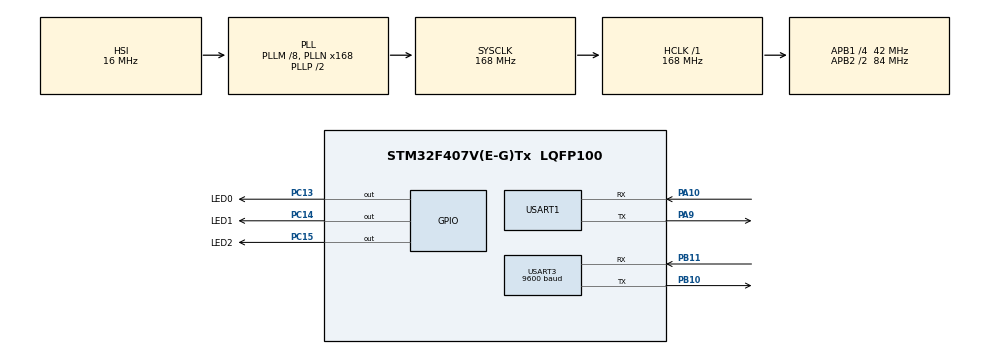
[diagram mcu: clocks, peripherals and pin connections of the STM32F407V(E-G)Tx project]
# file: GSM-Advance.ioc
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Dma.Request0=USART1_TX
Dma.Request1=USART3_RX
Dma.Request2=USART3_TX
Dma.USART1_TX.0.Direction=DMA_MEMORY_TO_PERIPH
Dma.USART1_TX.0.FIFOMode=DMA_FIFOMODE_DISABLE
Dma.USART1_TX.0.Instance=DMA2_Stream7
Dma.USART1_TX.0.MemDataAlignment=DMA_MDATAALIGN_BYTE
Dma.USART1_TX.0.MemInc=DMA_MINC_ENABLE
Dma.USART1_TX.0.Mode=DMA_NORMAL
Dma.USART1_TX.0.PeriphDataAlignment=DMA_PDATAALIGN_BYTE
Dma.USART1_TX.0.PeriphInc=DMA_PINC_DISABLE
Dma.USART1_TX.0.Priority=DMA_PRIORITY_LOW
Dma.USART3_RX.1.Direction=DMA_PERIPH_TO_MEMORY
Dma.USART3_RX.1.FIFOMode=DMA_FIFOMODE_DISABLE
Dma.USART3_RX.1.Instance=DMA1_Stream1
Dma.USART3_RX.1.MemDataAlignment=DMA_MDATAALIGN_BYTE
Dma.USART3_RX.1.MemInc=DMA_MINC_ENABLE
Dma.USART3_RX.1.Mode=DMA_NORMAL
Dma.USART3_RX.1.PeriphDataAlignment=DMA_PDATAALIGN_BYTE
Dma.USART3_RX.1.PeriphInc=DMA_PINC_DISABLE
Dma.USART3_RX.1.Priority=DMA_PRIORITY_LOW
Dma.USART3_TX.2.Direction=DMA_MEMORY_TO_PERIPH
Dma.USART3_TX.2.FIFOMode=DMA_FIFOMODE_DISABLE
Dma.USART3_TX.2.Instance=DMA1_Stream3
Dma.USART3_TX.2.MemDataAlignment=DMA_MDATAALIGN_BYTE
Dma.USART3_TX.2.MemInc=DMA_MINC_ENABLE
Dma.USART3_TX.2.Mode=DMA_NORMAL
Dma.USART3_TX.2.PeriphDataAlignment=DMA_PDATAALIGN_BYTE
Dma.USART3_TX.2.PeriphInc=DMA_PINC_DISABLE
Dma.USART3_TX.2.Priority=DMA_PRIORITY_LOW
Mcu.Family=STM32F4
Mcu.Name=STM32F407V(E-G)Tx
Mcu.Package=LQFP100
NVIC.DMA1_Stream1_IRQn=true\:0\:0\:false\:false\:true\:false\:true
NVIC.DMA1_Stream3_IRQn=true\:0\:0\:false\:false\:true\:false\:true
NVIC.DMA2_Stream7_IRQn=true\:0\:0\:false\:false\:true\:false\:true
NVIC.PriorityGroup=NVIC_PRIORITYGROUP_4
NVIC.USART1_IRQn=true\:0\:0\:false\:false\:true\:true\:true
NVIC.USART3_IRQn=true\:0\:0\:false\:false\:true\:true\:true
PA10.Mode=Asynchronous
PA10.Signal=USART1_RX
PA9.Mode=Asynchronous
PA9.Signal=USART1_TX
PB10.Mode=Asynchronous
PB10.Signal=USART3_TX
PB11.Mode=Asynchronous
PB11.Signal=USART3_RX
PC13-ANTI_TAMP.GPIO_Label=LED0
PC13-ANTI_TAMP.Signal=GPIO_Output
PC14-OSC32_IN.GPIO_Label=LED1
PC14-OSC32_IN.Signal=GPIO_Output
PC15-OSC32_OUT.GPIO_Label=LED2
PC15-OSC32_OUT.Signal=GPIO_Output
ProjectManager.HeapSize=0x200
ProjectManager.StackSize=0x400
ProjectManager.TargetToolchain=MDK-ARM V5.27
RCC.48MHZClocksFreq_Value=84000000
RCC.AHBFreq_Value=168000000
RCC.APB1CLKDivider=RCC_HCLK_DIV4
RCC.APB1Freq_Value=42000000
RCC.APB1TimFreq_Value=84000000
RCC.APB2CLKDivider=RCC_HCLK_DIV2
RCC.APB2Freq_Value=84000000
RCC.APB2TimFreq_Value=168000000
RCC.CortexFreq_Value=168000000
RCC.HCLKFreq_Value=168000000
RCC.HSE_VALUE=25000000
RCC.HSI_VALUE=16000000
RCC.LSE_VALUE=32768
RCC.PLLM=8
RCC.PLLN=168
RCC.SYSCLKFreq_VALUE=168000000
RCC.SYSCLKSource=RCC_SYSCLKSOURCE_PLLCLK
RCC.VCOOutputFreq_Value=336000000
USART1.VirtualMode=VM_ASYNC
USART3.BaudRate=9600
USART3.VirtualMode=VM_ASYNC
board=custom

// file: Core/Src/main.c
/* USER CODE BEGIN Header */
/**
  ******************************************************************************
  * @file           : main.c
  * @brief          : Main program body
  ******************************************************************************
  * @attention
  *
  * <h2><center>&copy; Copyright (c) 2024 STMicroelectronics.
  * All rights reserved.</center></h2>
  *
  * This software component is licensed by ST under BSD 3-Clause license,
  * the "License"; You may not use this file except in compliance with the
  * License. You may obtain a copy of the License at:
  *                        opensource.org/licenses/BSD-3-Clause
  *
  ******************************************************************************
  */
/* USER CODE END Header */
#include "main.h"
#include "dma.h"
#include "usart.h"
#include "gpio.h"

/* USER CODE BEGIN Includes */
#include "CircularBuffer.h"
#include <stdio.h>
#include <string.h>
#include <stdarg.h>
/* USER CODE END Includes */

/* USER CODE BEGIN PTD */
/* Pre-Defined Types */
struct __GSM;
typedef struct __GSM GSM;
struct __GSM_URC;
typedef struct __GSM_URC GSM_URC;
struct __GSM_Command;
typedef struct __GSM_Command GSM_Command;

typedef struct {
  const char*               Text;
  int16_t                   Len;
} StrConst;

typedef enum {
  GSM_Result_Unknown    = -1,
  GSM_Result_Ok         = 0,
  GSM_Result_Error,
  GSM_Result_CMEError,
  GSM_Result_CMSError,
} GSM_Result;

typedef enum {
  GSM_State_Config,
  GSM_State_Idle,
} GSM_State;

typedef enum {
  GSM_ConfigState_AT,
  GSM_ConfigState_ATE0,
  GSM_ConfigState_CMGF,
  GSM_ConfigState_CSMP,
  GSM_ConfigState_CNMI,
} GSM_ConfigState;

typedef void    (*GSM_URC_ProcessFn)(GSM* gsm, const GSM_URC* urc, char* line);
typedef void    (*GSM_URC_ProcessDataFn)(GSM* gsm, const GSM_URC* urc, char* line);
typedef void    (*GSM_Command_OnResultFn)(GSM* gsm, const GSM_Command* cmd, char* line, GSM_Result result);
typedef uint8_t (*GSM_Command_OnURCFn)(GSM* gsm, const GSM_Command* cmd, char* line);

struct __GSM_URC {
  StrConst                  Name;
  GSM_URC_ProcessFn         process;
  GSM_URC_ProcessDataFn     processData;
};

struct __GSM_Command {
  const char*               Cmd;
  const char*               Data;
  const char*               End;
  GSM_Command_OnResultFn    onResult;
  GSM_Command_OnURCFn       onURC;
};

struct __GSM {
  UART_CircularBuffer*      Rx;
  UART_CircularBuffer*      Tx;
  GSM_State                 State;
  GSM_ConfigState           ConfigState;
  const GSM_Command*        Cmd;
  const GSM_Command*        NextCmd;
  const GSM_URC*            URCs;
  const GSM_URC*            URCInProcess;
  int16_t                   URCsLen;
  uint8_t                   WaitForSend     : 1;
  uint8_t                   WaitForData     : 1;
  uint8_t                   WaitForResult   : 1;
  uint8_t                   InSendCommand   : 1;
  uint8_t                   Reserved        : 4;
};

typedef struct {
  GPIO_TypeDef*             GPIO;
  uint16_t                  Pin;
} Led_PinConfig;

/* USER CODE END PTD */

/* USER CODE BEGIN PD */
#define LED_CONFIGS_LEN       3
/* USER CODE END PD */

/* USER CODE BEGIN PM */
#define ARR_LEN(ARR)          (sizeof(ARR) / sizeof(ARR[0]))
/* USER CODE END PM */

/* USER CODE BEGIN PV */
static const Led_PinConfig LED_CONFIGS[LED_CONFIGS_LEN] = {
  { LED0_GPIO_Port, LED0_Pin },
  { LED1_GPIO_Port, LED1_Pin },
  { LED2_GPIO_Port, LED2_Pin },
};

static const char CRLF[2]        = "\r\n";
static const char AT[]           = "AT";
static const char AT_CME_ERROR[] = "+CME ERROR:";
static const char AT_CMS_ERROR[] = "+CMS ERROR:";
static const char AT_OK[]        = "OK";
static const char AT_ERROR[]     = "ERROR";
static const char AT_CMT[]       = "+CMT:";

#define STR_CONST(STR)          { STR, sizeof(STR) -1 }

static const StrConst AT_RESULT[] = {
  STR_CONST(AT_OK),
  STR_CONST(AT_ERROR),
  STR_CONST(AT_CME_ERROR),
  STR_CONST(AT_CMS_ERROR),
};
static const int16_t AT_RESULT_LEN = ARR_LEN(AT_RESULT);

static UART_CircularBuffer uart1Tx = {0};
static uint8_t uart1TxBuf[512];

static UART_CircularBuffer uart3Tx = {0};
static uint8_t uart3TxBuf[512];
static UART_CircularBuffer uart3Rx = {0};
static uint8_t uart3RxBuf[512];

static GSM gsm = {0};

static char phone[17] = {0};
static char message[150] = {0};
/* USER CODE END PV */

void SystemClock_Config(void);
/* USER CODE BEGIN PFP */
void GSM_init(GSM* gsm, UART_CircularBuffer* tx, UART_CircularBuffer* rx);
void GSM_process(GSM* gsm);

void GSM_setURCs(GSM* gsm, const GSM_URC* urcs, int16_t len);
void GSM_sendCmd(GSM* gsm, const GSM_Command* cmd);
void GSM_setWaitForData(GSM* gsm, const GSM_URC* urc);
void GSM_endWaitForData(GSM* gsm);

void smsProcess(void);

void GSM_sendStr(GSM* gsm, const char* str);
void GSM_sendFmt(GSM* gsm, const char* fmt, ...);

int16_t GSM_URC_find(char* str, const GSM_URC* urcs, int16_t len);

char* Str_ignoreWhitespace(char* str);
char* Str_indexOfAt(char* str, char c, int16_t num);
char* Str_getToken(char* str, char* out, char c, int16_t num);
uint32_t Str_getUNum(char* str, int16_t* len);

int16_t Str_linearSearch(char* str, const StrConst* strs, int16_t len);

void GSM_Config_AT_onResult(GSM* gsm, const GSM_Command* cmd, char* line, GSM_Result result);
void GSM_Config_ATE0_onResult(GSM* gsm, const GSM_Command* cmd, char* line, GSM_Result result);
void GSM_Config_CMGF_onResult(GSM* gsm, const GSM_Command* cmd, char* line, GSM_Result result);
void GSM_Config_CSMP_onResult(GSM* gsm, const GSM_Command* cmd, char* line, GSM_Result result);
void GSM_Config_CNMI_onResult(GSM* gsm, const GSM_Command* cmd, char* line, GSM_Result result);

void GSM_URC_CMT_process(GSM* gsm, const GSM_URC* urc, char* line);
void GSM_URC_CMT_processData(GSM* gsm, const GSM_URC* urc, char* line);

void GSM_URC_RING_process(GSM* gsm, const GSM_URC* urc, char* line);
/* USER CODE END PFP */

/* USER CODE BEGIN 0 */
static const GSM_Command CONFIG_CMD_AT = {
  .Cmd = "AT\r\n",
  .onResult = GSM_Config_AT_onResult,
};

static const GSM_Command CONFIG_CMD_ATE0 = {
  .Cmd = "ATE0\r\n",
  .onResult = GSM_Config_ATE0_onResult,
};

static const GSM_Command CONFIG_CMD_CMGF = {
  .Cmd = "AT+CMGF=1\r\n",
  .onResult = GSM_Config_CMGF_onResult,
};

static const GSM_Command CONFIG_CMD_CSMP = {
  .Cmd = "AT+CSMP=17,167,0,0\r\n",
  .onResult = GSM_Config_CSMP_onResult,
};

static const GSM_Command CONFIG_CMD_CNMI = {
  .Cmd = "AT+CNMI=2,2\r\n",
  .onResult = GSM_Config_CNMI_onResult,
};

static const GSM_URC GSM_URCS[] = {
  {
    .Name = STR_CONST("+CMT:"),
    .process = GSM_URC_CMT_process,
    .processData = GSM_URC_CMT_processData,
  },
  {
    .Name = STR_CONST("RING"),
    .process = GSM_URC_RING_process,
  },
};
static const int16_t GSM_URCS_LEN = ARR_LEN(GSM_URCS);

/* USER CODE END 0 */

int main(void)
{

  /* MCU Configuration--------------------------------------------------------*/

  /* Reset of all peripherals, Initializes the Flash interface and the Systick. */
  HAL_Init();

  /* Configure the system clock */
  SystemClock_Config();

  /* Initialize all configured peripherals */
  MX_GPIO_Init();
  MX_DMA_Init();
  MX_USART1_UART_Init();
  MX_USART3_UART_Init();
  /* USER CODE BEGIN 2 */
  UART_CircularBuffer_init(&uart1Tx, &huart1, uart1TxBuf, sizeof(uart1TxBuf));
  UART_CircularBuffer_init(&uart3Tx, &huart3, uart3TxBuf, sizeof(uart3TxBuf));
  UART_CircularBuffer_init(&uart3Rx, &huart3, uart3RxBuf, sizeof(uart3RxBuf));
  UART_CircularBuffer_receive(&uart3Rx);
  /* USER CODE END 2 */

  /* Infinite loop */
  /* USER CODE BEGIN WHILE */
  GSM_init(&gsm, &uart3Tx, &uart3Rx);
  GSM_setURCs(&gsm, GSM_URCS, GSM_URCS_LEN);
  GSM_sendCmd(&gsm, &CONFIG_CMD_AT);
  while (1)
  {
    GSM_process(&gsm);
    /* USER CODE END WHILE */

  }
}

void SystemClock_Config(void)
{
  RCC_OscInitTypeDef RCC_OscInitStruct = {0};
  RCC_ClkInitTypeDef RCC_ClkInitStruct = {0};

  /** Configure the main internal regulator output voltage
  */
  __HAL_RCC_PWR_CLK_ENABLE();
  __HAL_PWR_VOLTAGESCALING_CONFIG(PWR_REGULATOR_VOLTAGE_SCALE1);
  /** Initializes the RCC Oscillators according to the specified parameters
  * in the RCC_OscInitTypeDef structure.
  */
  RCC_OscInitStruct.OscillatorType = RCC_OSCILLATORTYPE_HSI;
  RCC_OscInitStruct.HSIState = RCC_HSI_ON;
  RCC_OscInitStruct.HSICalibrationValue = RCC_HSICALIBRATION_DEFAULT;
  RCC_OscInitStruct.PLL.PLLState = RCC_PLL_ON;
  RCC_OscInitStruct.PLL.PLLSource = RCC_PLLSOURCE_HSI;
  RCC_OscInitStruct.PLL.PLLM = 8;
  RCC_OscInitStruct.PLL.PLLN = 168;
  RCC_OscInitStruct.PLL.PLLP = RCC_PLLP_DIV2;
  RCC_OscInitStruct.PLL.PLLQ = 4;
  if (HAL_RCC_OscConfig(&RCC_OscInitStruct) != HAL_OK)
  {
    Error_Handler();
  }
  /** Initializes the CPU, AHB and APB buses clocks
  */
  RCC_ClkInitStruct.ClockType = RCC_CLOCKTYPE_HCLK|RCC_CLOCKTYPE_SYSCLK
                              |RCC_CLOCKTYPE_PCLK1|RCC_CLOCKTYPE_PCLK2;
  RCC_ClkInitStruct.SYSCLKSource = RCC_SYSCLKSOURCE_PLLCLK;
  RCC_ClkInitStruct.AHBCLKDivider = RCC_SYSCLK_DIV1;
  RCC_ClkInitStruct.APB1CLKDivider = RCC_HCLK_DIV4;
  RCC_ClkInitStruct.APB2CLKDivider = RCC_HCLK_DIV2;

  if (HAL_RCC_ClockConfig(&RCC_ClkInitStruct, FLASH_LATENCY_5) != HAL_OK)
  {
    Error_Handler();
  }
}

/* USER CODE BEGIN 4 */
void GSM_Config_AT_onResult(GSM* gsm, const GSM_Command* cmd, char* line, GSM_Result result) {
  if (result == GSM_Result_Ok) {
    puts("AT Ok\r");
    GSM_sendCmd(gsm, &CONFIG_CMD_ATE0);
  }
}
void GSM_Config_ATE0_onResult(GSM* gsm, const GSM_Command* cmd, char* line, GSM_Result result) {
  if (result == GSM_Result_Ok) {
    puts("ATE0 Ok\r");
    GSM_sendCmd(gsm, &CONFIG_CMD_CMGF);
  }
}
void GSM_Config_CMGF_onResult(GSM* gsm, const GSM_Command* cmd, char* line, GSM_Result result) {
  if (result == GSM_Result_Ok) {
    puts("AT+CMGF Ok\r");
    GSM_sendCmd(gsm, &CONFIG_CMD_CSMP);
  }
}
void GSM_Config_CSMP_onResult(GSM* gsm, const GSM_Command* cmd, char* line, GSM_Result result) {
  if (result == GSM_Result_Ok) {
    puts("AT+CSMP Ok\r");
    GSM_sendCmd(gsm, &CONFIG_CMD_CNMI);
  }
}
void GSM_Config_CNMI_onResult(GSM* gsm, const GSM_Command* cmd, char* line, GSM_Result result) {
  if (result == GSM_Result_Ok) {
    puts("AT+CNMI Ok\r");
  }
}

void GSM_URC_CMT_process(GSM* gsm, const GSM_URC* urc, char* line) {
  puts("CMT Received\n");
  // Process Phone
  Str_getToken(line, phone, '"', 1);
  // Wait for another part
  GSM_setWaitForData(gsm, urc);
}
void GSM_URC_CMT_processData(GSM* gsm, const GSM_URC* urc, char* line) {
  // Process Notification with Param, Ex: CMT
  strcpy(message, line);
  smsProcess();
  GSM_endWaitForData(gsm);
}

void GSM_URC_RING_process(GSM* gsm, const GSM_URC* urc, char* line) {
  puts("Ringing...\r");
}

void smsProcess(void) {
  if (message[0] != '\0') {
    // Process
    printf("\r\nPhone: %s\r\nMessage: %s\r\n", phone, message);
    // Process LED command
    // LED=<num>,<state>
    char* msg = Str_ignoreWhitespace(message);

    if (strncmp(msg, "LED", 3) == 0) {
      msg = msg + 3;
      if (*msg == '=') {
        msg++;
        int16_t len;
        uint8_t num;
        uint8_t state;

        num = Str_getUNum(msg, &len);
        msg += len + 1;
        state = Str_getUNum(msg, NULL);

        printf("Led Command: %u,%u\r\n", num, state);

        if (num < LED_CONFIGS_LEN) {
          HAL_GPIO_WritePin(LED_CONFIGS[num].GPIO, LED_CONFIGS[num].Pin, !state);
        }
      }
    }

    // End
    message[0] = '\0';
  }
}

void GSM_init(GSM* gsm, UART_CircularBuffer* tx, UART_CircularBuffer* rx) {
  gsm->State = GSM_State_Config;
  gsm->ConfigState = GSM_ConfigState_AT;
  gsm->Tx = tx;
  gsm->Rx = rx;
  gsm->WaitForData = 0;
  gsm->WaitForResult = 0;
  gsm->WaitForSend = 0;
  gsm->Cmd = NULL;
  gsm->NextCmd = NULL;
}
void GSM_process(GSM* gsm) {
  if (gsm->InSendCommand == 0 && gsm->Cmd) {
    GSM_sendStr(gsm, gsm->Cmd->Cmd);
    printf("Send Cmd: %s\r", gsm->Cmd->Cmd);
    gsm->InSendCommand = 1;
    gsm->WaitForResult = 1;
  }

  int16_t len = UART_CircularBuffer_available(gsm->Rx);
  if (len > 0) {
    if (gsm->WaitForSend) {
      // Send Data Part
      if (gsm->Cmd && gsm->Cmd->Data) {
        GSM_sendStr(gsm, gsm->Cmd->Data);
        if (gsm->Cmd->End) {
          GSM_sendStr(gsm, gsm->Cmd->End);
        }
      }
    }
    else {
      // Read Line
      int16_t len = UART_CircularBuffer_findPat(gsm->Rx, (uint8_t*) CRLF, sizeof(CRLF));
      if (len >= 0) {
        char buf[180];
        len += 2;
        UART_CircularBuffer_readBytes(gsm->Rx, (uint8_t*) buf, len);
        buf[len] = '\0';
        if (gsm->WaitForData) {
          if (gsm->URCInProcess && gsm->URCInProcess->processData) {
            gsm->URCInProcess->processData(gsm, gsm->URCInProcess, buf);
          }
          else {
            // End
            gsm->WaitForData = 0;
          }
        }
        else {
          char* line = buf;
          // Ignore Left side of string
          line = Str_ignoreWhitespace(line);
          if (strncmp(line, AT, sizeof(AT) - 1) != 0) {
            // Process Result
            if (gsm->WaitForResult) {
              GSM_Result result = (GSM_Result) Str_linearSearch(line, AT_RESULT, AT_RESULT_LEN);

              if (result != GSM_Result_Unknown) {
                // Fire callback
                if (gsm->Cmd && gsm->Cmd->onResult) {
                  gsm->Cmd->onResult(gsm, gsm->Cmd, line, result);
                }
                gsm->InSendCommand = 0;
                gsm->WaitForResult = 0;
                gsm->Cmd = gsm->NextCmd;
                gsm->NextCmd = NULL;
              }
              else {
                if (gsm->Cmd && gsm->Cmd->onURC) {
                  if (gsm->Cmd->onURC(gsm, gsm->Cmd, line)) {
                    gsm->InSendCommand = 0;
                    gsm->WaitForResult = 0;
                  }
                }
              }
            }
            else {
              // Process URCs
              int16_t idx = GSM_URC_find(line, gsm->URCs, gsm->URCsLen);

              if (idx >= 0) {
                if (gsm->URCs[idx].process) {
                  gsm->URCs[idx].process(gsm, &gsm->URCs[idx], line);
                }
              }
            }
          }
          else {
            // Echo On

          }
        }
      }
      else {
        // Empty Line
      }
    }
  }
}

void GSM_setURCs(GSM* gsm, const GSM_URC* urcs, int16_t len) {
  gsm->URCs = urcs;
  gsm->URCsLen = len;
}
void GSM_sendCmd(GSM* gsm, const GSM_Command* cmd) {
  if (gsm->Cmd == NULL) {
    gsm->Cmd = cmd;
  }
  else {
    gsm->NextCmd = cmd;
  }
}

void GSM_sendStr(GSM* gsm, const char* str) {
  UART_CircularBuffer_writeBytes(gsm->Tx, (uint8_t*) str, strlen(str));
  UART_CircularBuffer_transmit(gsm->Tx);
}
void GSM_sendFmt(GSM* gsm, const char* fmt, ...) {
  char buf[256];

  va_list args;
  va_start(args, fmt);
  uint32_t len = vsnprintf(buf, sizeof(buf) - 1, fmt, args);
  va_end(args);

  UART_CircularBuffer_writeBytes(gsm->Tx, (uint8_t*) buf, len);
  UART_CircularBuffer_transmit(gsm->Tx);
}
int16_t GSM_URC_find(char* str, const GSM_URC* urcs, int16_t len) {
  for (int16_t i = 0; i < len; i++) {
    if (strncmp(str, urcs[i].Name.Text, urcs[i].Name.Len) == 0) {
      return i;
    }
  }

  return -1;
}

void GSM_setWaitForData(GSM* gsm, const GSM_URC* urc) {
  if (gsm->URCInProcess == NULL && gsm->WaitForData == 0) {
    gsm->URCInProcess = urc;
    gsm->WaitForData = 1;
  }
}
void GSM_endWaitForData(GSM* gsm) {
  gsm->URCInProcess = NULL;
  gsm->WaitForData = 0;
}

char* Str_ignoreWhitespace(char* str) {
  while (*str != '\0' && *str <= ' ') {
    str++;
  }
  return str;
}
char* Str_indexOfAt(char* str, char c, int16_t num) {
  if (*str == c) {
    num--;
  }

  while (str != NULL && num-- > 0) {
    str = strchr(str + 1, c);
  }

  return str;
}
char* Str_getToken(char* str, char* out, char c, int16_t num) {
  char* start = Str_indexOfAt(str, c, num);

  if (start) {
    char* end = strchr(++start, c);
    if (end == NULL) {
      end = memchr(start, '\0', 256);
    }
    int32_t len = (int32_t)(end - start);
    strncpy(out, start, len);
    out[len] = '\0';
    return out;
  }

  return NULL;
}

uint32_t Str_getUNum(char* str, int16_t* len) {
  uint32_t z = 0;
  char* start = str;

  while (*str != '\0') {
    if (*str > '9' || *str < '0') {
      break;
    }

    z = (z * 10) + (*str++ - '0');
  }

  if (len) {
    *len = (int16_t)(str - start);
  }

  return z;
}

int16_t Str_linearSearch(char* str, const StrConst* strs, int16_t len) {
  for (int16_t i = 0; i < len; i++) {
    if (strncmp(str, strs[i].Text, strs[i].Len) == 0) {
      return i;
    }
  }

  return -1;
}

void HAL_UART_TxCpltCallback(UART_HandleTypeDef* huart) {
  switch ((uint32_t) huart->Instance) {
    case USART1_BASE:
      UART_CircularBuffer_handleTx(&uart1Tx);
      break;
    case USART3_BASE:
      UART_CircularBuffer_handleTx(&uart3Tx);
      break;
  }
}

void HAL_UART_RxCpltCallback(UART_HandleTypeDef* huart) {
  switch ((uint32_t) huart->Instance) {
    case USART1_BASE:

      break;
    case USART3_BASE:
      UART_CircularBuffer_handleRx(&uart3Rx);
      break;
  }
}

void HAL_UART_ErrorCallback(UART_HandleTypeDef* huart) {
  switch ((uint32_t) huart->Instance) {
    case USART1_BASE:
      UART_CircularBuffer_resetIO(&uart1Tx);
      break;
    case USART3_BASE:
      UART_CircularBuffer_resetIO(&uart3Rx);
      UART_CircularBuffer_resetIO(&uart3Tx);
      UART_CircularBuffer_receive(&uart3Rx);
      break;
  }
}
// Override fputc
int fputc(int c, FILE* f) {
  UART_CircularBuffer_writeBytes(&uart1Tx, (uint8_t*) &c, 1);
  UART_CircularBuffer_transmit(&uart1Tx);
  return 0;
}

/* USER CODE END 4 */

void Error_Handler(void)
{
  __disable_irq();
  while (1)
  {
  }
}

/************************ (C) COPYRIGHT STMicroelectronics *****END OF FILE****/
